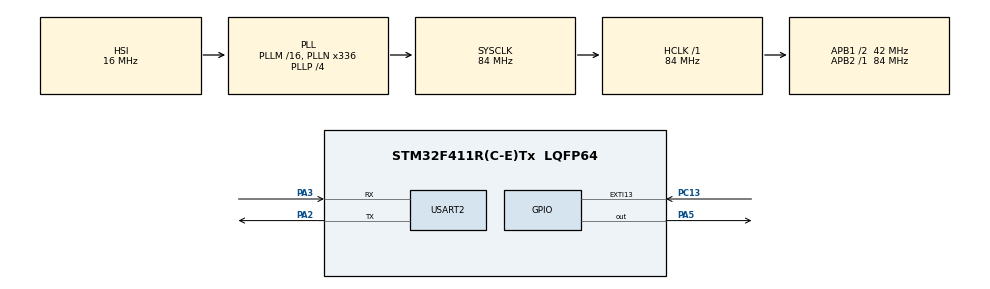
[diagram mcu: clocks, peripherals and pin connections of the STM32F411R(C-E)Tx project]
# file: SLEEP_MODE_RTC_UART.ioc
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Mcu.Family=STM32F4
Mcu.Name=STM32F411R(C-E)Tx
Mcu.Package=LQFP64
NVIC.EXTI15_10_IRQn=true\:0\:0\:false\:false\:true\:true\:true\:true
NVIC.PriorityGroup=NVIC_PRIORITYGROUP_0
NVIC.USART2_IRQn=true\:0\:0\:false\:false\:true\:true\:true\:true
PA2.Mode=Asynchronous
PA2.Signal=USART2_TX
PA3.Mode=Asynchronous
PA3.Signal=USART2_RX
PA5.Signal=GPIO_Output
PC13-ANTI_TAMP.Signal=GPXTI13
PC14-OSC32_IN.Mode=LSE-External-Oscillator
PC14-OSC32_IN.Signal=RCC_OSC32_IN
PC15-OSC32_OUT.Mode=LSE-External-Oscillator
PC15-OSC32_OUT.Signal=RCC_OSC32_OUT
ProjectManager.HeapSize=0x200
ProjectManager.StackSize=0x400
ProjectManager.TargetToolchain=STM32CubeIDE
RCC.48MHZClocksFreq_Value=84000000
RCC.AHBFreq_Value=84000000
RCC.APB1CLKDivider=RCC_HCLK_DIV2
RCC.APB1Freq_Value=42000000
RCC.APB1TimFreq_Value=84000000
RCC.APB2Freq_Value=84000000
RCC.APB2TimFreq_Value=84000000
RCC.CortexFreq_Value=84000000
RCC.FLatency-AdvancedSettings=FLASH_LATENCY_2
RCC.HCLKFreq_Value=84000000
RCC.HSE_VALUE=8000000
RCC.HSI_VALUE=16000000
RCC.PLLN=336
RCC.PLLP=RCC_PLLP_DIV4
RCC.SYSCLKFreq_VALUE=84000000
RCC.SYSCLKSource=RCC_SYSCLKSOURCE_PLLCLK
RCC.VCOOutputFreq_Value=336000000
RTC.Date=2
RTC.Format=RTC_FORMAT_BIN
RTC.Hours=1
RTC.Minutes=15
RTC.Month=RTC_MONTH_NOVEMBER
RTC.Seconds=15
RTC.WeekDay=RTC_WEEKDAY_THURSDAY
RTC.Year=23
USART2.VirtualMode=VM_ASYNC
VP_RTC_VS_RTC_Activate.Mode=RTC_Enabled
VP_RTC_VS_RTC_Calendar.Mode=RTC_Calendar
board=NUCLEO-F411RE

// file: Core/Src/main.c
/* USER CODE BEGIN Header */
/**
 ******************************************************************************
 * @file           : main.c
 * @brief          : Main program body
 ******************************************************************************
 * @attention
 *
 * Copyright (c) 2023 STMicroelectronics.
 * All rights reserved.
 * Published By :- Sandesh Kale
 * Github	    :- @github/JAGAHPEE
 * This software is licensed under terms that can be found in the LICENSE file
 * in the root directory of this software component.
 * If no LICENSE file comes with this software, it is provided AS-IS.
 *
 ******************************************************************************
 */
/* USER CODE END Header */
#include "main.h"

/* USER CODE BEGIN Includes */
#include<string.h>
#include<stdio.h>
/* USER CODE END Includes */

RTC_HandleTypeDef hrtc;

UART_HandleTypeDef huart2;

/* USER CODE BEGIN PV */
char time[30];
char date[30];
RTC_TimeTypeDef sTime = {0};
RTC_DateTypeDef sDate = {0};
/* USER CODE END PV */

void SystemClock_Config(void);
static void MX_GPIO_Init(void);
static void MX_RTC_Init(void);
static void MX_USART2_UART_Init(void);

/* USER CODE BEGIN 0 */
void HAL_GPIO_EXTI_Callback(uint16_t GPIO_Pin)
{
	HAL_GPIO_WritePin(GPIOA, GPIO_PIN_5, 1);
}
/* USER CODE END 0 */

int main(void)
{

	/* MCU Configuration--------------------------------------------------------*/

	/* Reset of all peripherals, Initializes the Flash interface and the Systick. */
	HAL_Init();

	/* Configure the system clock */
	SystemClock_Config();

	/* Initialize all configured peripherals */
	MX_GPIO_Init();
	MX_RTC_Init();
	MX_USART2_UART_Init();

	/* Infinite loop */
	while (1)
	{

		/* USER CODE BEGIN 3 */
		HAL_RTC_GetTime(&hrtc, &sTime, RTC_FORMAT_BIN);
		HAL_RTC_GetDate(&hrtc, &sDate, RTC_FORMAT_BIN);
		sprintf(date,"Date: %02d//%02d//%02d\r\n",sDate.Date,sDate.Month,sDate.Year);
		sprintf(time,"Time: %02d:%02d:%02d\r\n",sTime.Hours,sTime.Minutes,sTime.Seconds);
		HAL_UART_Transmit_IT(&huart2, (uint8_t*)time,strlen(time));
		HAL_Delay(50);
		HAL_UART_Transmit_IT(&huart2, (uint8_t*)date,strlen(date));
		HAL_Delay(100);
		HAL_GPIO_WritePin(GPIOA, GPIO_PIN_5, 1);
		HAL_Delay(50);
		HAL_SuspendTick();
		HAL_GPIO_WritePin(GPIOA, GPIO_PIN_5, 0);
		HAL_PWR_EnterSLEEPMode(PWR_MAINREGULATOR_ON, PWR_SLEEPENTRY_WFI);
		HAL_ResumeTick();
		HAL_Delay(50);
		HAL_GPIO_WritePin(GPIOA, GPIO_PIN_5, 0);
	}
	/* USER CODE END 3 */
}

void SystemClock_Config(void)
{
	RCC_OscInitTypeDef RCC_OscInitStruct = {0};
	RCC_ClkInitTypeDef RCC_ClkInitStruct = {0};

	/** Configure the main internal regulator output voltage
	 */
	__HAL_RCC_PWR_CLK_ENABLE();
	__HAL_PWR_VOLTAGESCALING_CONFIG(PWR_REGULATOR_VOLTAGE_SCALE1);

	/** Initializes the RCC Oscillators according to the specified parameters
	 * in the RCC_OscInitTypeDef structure.
	 */
	RCC_OscInitStruct.OscillatorType = RCC_OSCILLATORTYPE_HSI|RCC_OSCILLATORTYPE_LSI;
	RCC_OscInitStruct.HSIState = RCC_HSI_ON;
	RCC_OscInitStruct.HSICalibrationValue = RCC_HSICALIBRATION_DEFAULT;
	RCC_OscInitStruct.LSIState = RCC_LSI_ON;
	RCC_OscInitStruct.PLL.PLLState = RCC_PLL_ON;
	RCC_OscInitStruct.PLL.PLLSource = RCC_PLLSOURCE_HSI;
	RCC_OscInitStruct.PLL.PLLM = 16;
	RCC_OscInitStruct.PLL.PLLN = 336;
	RCC_OscInitStruct.PLL.PLLP = RCC_PLLP_DIV4;
	RCC_OscInitStruct.PLL.PLLQ = 4;
	if (HAL_RCC_OscConfig(&RCC_OscInitStruct) != HAL_OK)
	{
		Error_Handler();
	}

	/** Initializes the CPU, AHB and APB buses clocks
	 */
	RCC_ClkInitStruct.ClockType = RCC_CLOCKTYPE_HCLK|RCC_CLOCKTYPE_SYSCLK
			|RCC_CLOCKTYPE_PCLK1|RCC_CLOCKTYPE_PCLK2;
	RCC_ClkInitStruct.SYSCLKSource = RCC_SYSCLKSOURCE_PLLCLK;
	RCC_ClkInitStruct.AHBCLKDivider = RCC_SYSCLK_DIV1;
	RCC_ClkInitStruct.APB1CLKDivider = RCC_HCLK_DIV2;
	RCC_ClkInitStruct.APB2CLKDivider = RCC_HCLK_DIV1;

	if (HAL_RCC_ClockConfig(&RCC_ClkInitStruct, FLASH_LATENCY_2) != HAL_OK)
	{
		Error_Handler();
	}
}

static void MX_RTC_Init(void)
{

	RTC_TimeTypeDef sTime = {0};
	RTC_DateTypeDef sDate = {0};

	/** Initialize RTC Only
	 */
	hrtc.Instance = RTC;
	hrtc.Init.HourFormat = RTC_HOURFORMAT_24;
	hrtc.Init.AsynchPrediv = 127;
	hrtc.Init.SynchPrediv = 255;
	hrtc.Init.OutPut = RTC_OUTPUT_DISABLE;
	hrtc.Init.OutPutPolarity = RTC_OUTPUT_POLARITY_HIGH;
	hrtc.Init.OutPutType = RTC_OUTPUT_TYPE_OPENDRAIN;
	if (HAL_RTC_Init(&hrtc) != HAL_OK)
	{
		Error_Handler();
	}

	/** Initialize RTC and set the Time and Date
	 */
	sTime.Hours = 1;
	sTime.Minutes = 15;
	sTime.Seconds = 15;
	sTime.DayLightSaving = RTC_DAYLIGHTSAVING_NONE;
	sTime.StoreOperation = RTC_STOREOPERATION_RESET;
	if (HAL_RTC_SetTime(&hrtc, &sTime, RTC_FORMAT_BIN) != HAL_OK)
	{
		Error_Handler();
	}
	sDate.WeekDay = RTC_WEEKDAY_THURSDAY;
	sDate.Month = RTC_MONTH_NOVEMBER;
	sDate.Date = 2;
	sDate.Year = 23;

	if (HAL_RTC_SetDate(&hrtc, &sDate, RTC_FORMAT_BIN) != HAL_OK)
	{
		Error_Handler();
	}

}

static void MX_USART2_UART_Init(void)
{

	huart2.Instance = USART2;
	huart2.Init.BaudRate = 115200;
	huart2.Init.WordLength = UART_WORDLENGTH_8B;
	huart2.Init.StopBits = UART_STOPBITS_1;
	huart2.Init.Parity = UART_PARITY_NONE;
	huart2.Init.Mode = UART_MODE_TX_RX;
	huart2.Init.HwFlowCtl = UART_HWCONTROL_NONE;
	huart2.Init.OverSampling = UART_OVERSAMPLING_16;
	if (HAL_UART_Init(&huart2) != HAL_OK)
	{
		Error_Handler();
	}

}

static void MX_GPIO_Init(void)
{
	GPIO_InitTypeDef GPIO_InitStruct = {0};

	/* GPIO Ports Clock Enable */
	__HAL_RCC_GPIOC_CLK_ENABLE();
	__HAL_RCC_GPIOA_CLK_ENABLE();

	/*Configure GPIO pin Output Level */
	HAL_GPIO_WritePin(GPIOA, GPIO_PIN_5, GPIO_PIN_RESET);

	/*Configure GPIO pin : PC13 */
	GPIO_InitStruct.Pin = GPIO_PIN_13;
	GPIO_InitStruct.Mode = GPIO_MODE_IT_RISING;
	GPIO_InitStruct.Pull = GPIO_NOPULL;
	HAL_GPIO_Init(GPIOC, &GPIO_InitStruct);

	/*Configure GPIO pin : PA5 */
	GPIO_InitStruct.Pin = GPIO_PIN_5;
	GPIO_InitStruct.Mode = GPIO_MODE_OUTPUT_PP;
	GPIO_InitStruct.Pull = GPIO_NOPULL;
	GPIO_InitStruct.Speed = GPIO_SPEED_FREQ_LOW;
	HAL_GPIO_Init(GPIOA, &GPIO_InitStruct);

	/* EXTI interrupt init*/
	HAL_NVIC_SetPriority(EXTI15_10_IRQn, 0, 0);
	HAL_NVIC_EnableIRQ(EXTI15_10_IRQn);

}

void Error_Handler(void)
{
	__disable_irq();
	while (1)
	{
	}
}
